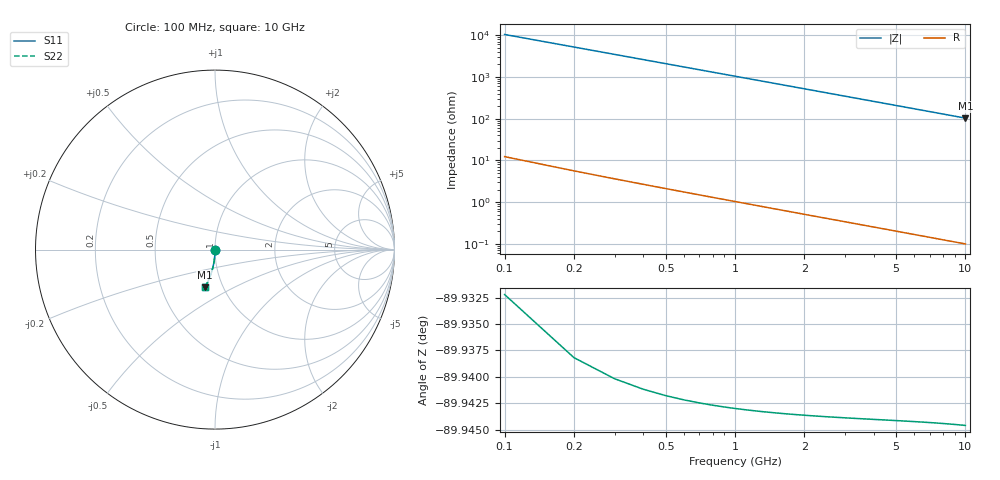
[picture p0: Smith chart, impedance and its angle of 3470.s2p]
# Hz S RI R 50.00
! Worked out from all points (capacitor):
!   100 points, 100 MHz to 10 GHz, reference 50 ohm
!   read as one part in shunt: C = 153 fF near 100 MHz
!   lowest |Z| = 103 ohm at 10 GHz (marker M1)
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1e8  4.67e-05 -0.0022  0.9999 -0.0026  0.9999 -0.0026  4.67e-05 -0.0022
2e8  2.76e-05 -0.00439  0.9999 -0.0052  0.9999 -0.0052  2.76e-05 -0.00439
3e8  -3.03e-06 -0.00659  0.9999 -0.00781  0.9999 -0.00781  -3.03e-06 -0.00659
4e8  -4.52e-05 -0.00879  0.9998 -0.0104  0.9998 -0.0104  -4.52e-05 -0.00879
5e8  -9.88e-05 -0.011  0.9998 -0.013  0.9998 -0.013  -9.88e-05 -0.011
6e8  -0.000164 -0.0132  0.9997 -0.0156  0.9997 -0.0156  -0.000164 -0.0132
7e8  -0.00024 -0.0154  0.9996 -0.0182  0.9996 -0.0182  -0.00024 -0.0154
8e8  -0.000328 -0.0176  0.9996 -0.0208  0.9996 -0.0208  -0.000328 -0.0176
9e8  -0.000428 -0.0198  0.9995 -0.0234  0.9995 -0.0234  -0.000428 -0.0198
1.1e9  -0.000661 -0.0242  0.9992 -0.0286  0.9992 -0.0286  -0.000661 -0.0242
1.4e9  -0.0011 -0.0307  0.9988 -0.0364  0.9988 -0.0364  -0.0011 -0.0307
1.8e9  -0.00184 -0.0395  0.998 -0.0468  0.998 -0.0468  -0.00184 -0.0395
2.1e9  -0.00251 -0.0461  0.9973 -0.0546  0.9973 -0.0546  -0.00251 -0.0461
2.5e9  -0.00358 -0.0548  0.9963 -0.065  0.9963 -0.065  -0.00358 -0.0548
2.9e9  -0.00482 -0.0635  0.995 -0.0753  0.995 -0.0753  -0.00482 -0.0635
3.4e9  -0.00663 -0.0744  0.9932 -0.0882  0.9932 -0.0882  -0.00663 -0.0744
4.2e9  -0.0101 -0.0917  0.9896 -0.1088  0.9896 -0.1088  -0.0101 -0.0917
5.1e9  -0.0149 -0.1109  0.9848 -0.1317  0.9848 -0.1317  -0.0149 -0.1109
5.9e9  -0.0199 -0.1277  0.9797 -0.1518  0.9797 -0.1518  -0.0199 -0.1277
6.7e9  -0.0255 -0.1443  0.974 -0.1717  0.974 -0.1717  -0.0255 -0.1443
8.4e9  -0.0397 -0.1784  0.9595 -0.2129  0.9595 -0.2129  -0.0397 -0.1784
1e10  -0.0556 -0.209  0.9434 -0.2503  0.9434 -0.2503  -0.0556 -0.209
